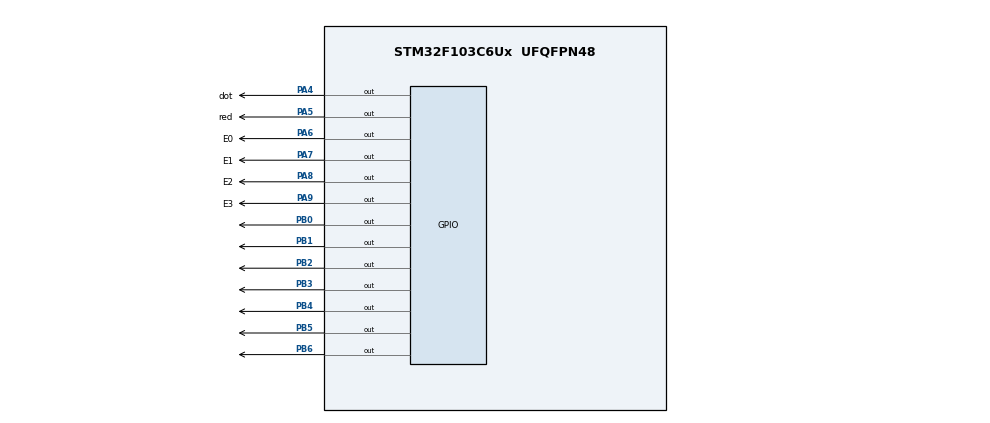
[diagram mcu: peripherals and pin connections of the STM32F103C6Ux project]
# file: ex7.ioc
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Mcu.Family=STM32F1
Mcu.Name=STM32F103C6Ux
Mcu.Package=UFQFPN48
NVIC.PriorityGroup=NVIC_PRIORITYGROUP_4
NVIC.TIM2_IRQn=true\:0\:0\:false\:false\:true\:true\:true
PA13.Mode=Serial_Wire
PA13.Signal=SYS_JTMS-SWDIO
PA14.Mode=Serial_Wire
PA14.Signal=SYS_JTCK-SWCLK
PA4.GPIO_Label=dot
PA4.Signal=GPIO_Output
PA5.GPIO_Label=red
PA5.Signal=GPIO_Output
PA6.GPIO_Label=E0
PA6.Signal=GPIO_Output
PA7.GPIO_Label=E1
PA7.Signal=GPIO_Output
PA8.GPIO_Label=E2
PA8.Signal=GPIO_Output
PA9.GPIO_Label=E3
PA9.Signal=GPIO_Output
PB0.Signal=GPIO_Output
PB1.Signal=GPIO_Output
PB2.Signal=GPIO_Output
PB3.Signal=GPIO_Output
PB4.Signal=GPIO_Output
PB5.Signal=GPIO_Output
PB6.Signal=GPIO_Output
ProjectManager.HeapSize=0x200
ProjectManager.StackSize=0x400
ProjectManager.TargetToolchain=STM32CubeIDE
RCC.APB1Freq_Value=8000000
RCC.APB2Freq_Value=8000000
TIM2.Period=9
TIM2.Prescaler=7999
VP_TIM2_VS_ClockSourceINT.Mode=Internal
board=custom

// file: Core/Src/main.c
/* USER CODE BEGIN Header */
/**
  ******************************************************************************
  * @file           : main.c
  * @brief          : Main program body
  ******************************************************************************
  * @attention
  *
  * <h2><center>&copy; Copyright (c) 2023 STMicroelectronics.
  * All rights reserved.</center></h2>
  *
  * This software component is licensed by ST under BSD 3-Clause license,
  * the "License"; You may not use this file except in compliance with the
  * License. You may obtain a copy of the License at:
  *                        opensource.org/licenses/BSD-3-Clause
  *
  ******************************************************************************
  */
/* USER CODE END Header */
#include "main.h"
int timer0_counter = 0;
int timer0_flag = 0;
int TIMER_CYCLE = 10;

int hour = 23 , minute = 9 , second = 55;
const int MAX_LED = 4;
int index_led = 0; // state
int led_buffer[4];

TIM_HandleTypeDef htim2;

void SystemClock_Config(void);
static void MX_GPIO_Init(void);
static void MX_TIM2_Init(void);

int main(void)
{

  /* MCU Configuration--------------------------------------------------------*/

  /* Reset of all peripherals, Initializes the Flash interface and the Systick. */
  HAL_Init();

  /* Configure the system clock */
  SystemClock_Config();

  /* Initialize all configured peripherals */
  MX_GPIO_Init();
  MX_TIM2_Init();
  /* USER CODE BEGIN 2 */
  HAL_TIM_Base_Start_IT(&htim2);
  /* USER CODE END 2 */

  /* Infinite loop */
  /* USER CODE BEGIN WHILE */
  setTimer0(10);
  while (1)
  {
	  updateClockBuffer();
	  if(timer0_flag == 1) {
		HAL_GPIO_TogglePin(red_GPIO_Port, red_Pin);
		HAL_GPIO_TogglePin(dot_GPIO_Port, dot_Pin);
		if(index_led == 0) {
			HAL_GPIO_WritePin(E0_GPIO_Port, E0_Pin, RESET);
			HAL_GPIO_WritePin(E1_GPIO_Port, E1_Pin, SET);
			HAL_GPIO_WritePin(E2_GPIO_Port, E2_Pin, SET);
			HAL_GPIO_WritePin(E3_GPIO_Port, E3_Pin, SET);
			update7SEG(index_led);
		}
		else if(index_led == 1) {
			HAL_GPIO_WritePin(E0_GPIO_Port, E0_Pin, SET);
			HAL_GPIO_WritePin(E1_GPIO_Port, E1_Pin, RESET);
			HAL_GPIO_WritePin(E2_GPIO_Port, E2_Pin, SET);
			HAL_GPIO_WritePin(E3_GPIO_Port, E3_Pin, SET);
			update7SEG(index_led);
		}
		else if(index_led == 2) {
			HAL_GPIO_WritePin(E0_GPIO_Port, E0_Pin, SET);
			HAL_GPIO_WritePin(E1_GPIO_Port, E1_Pin, SET);
			HAL_GPIO_WritePin(E2_GPIO_Port, E2_Pin, RESET);
			HAL_GPIO_WritePin(E3_GPIO_Port, E3_Pin, SET);
			update7SEG(index_led);
		}
		else {
			HAL_GPIO_WritePin(E0_GPIO_Port, E0_Pin, SET);
			HAL_GPIO_WritePin(E1_GPIO_Port, E1_Pin, SET);
			HAL_GPIO_WritePin(E2_GPIO_Port, E2_Pin, SET);
			HAL_GPIO_WritePin(E3_GPIO_Port, E3_Pin, RESET);
			update7SEG(index_led);
		}
		second++;
		if (second >= 60) {
				  second = 0;
				  minute ++;
			  }
		if( minute >= 60) {
			      minute = 0;
			      hour ++;
			  }
		if( hour >=24) {
			  	  hour = 0;
			  }
		index_led = (index_led + 1) % MAX_LED;
		setTimer0(1000);
	  }
  /* USER CODE END 3 */
  }

}

void SystemClock_Config(void)
{
  RCC_OscInitTypeDef RCC_OscInitStruct = {0};
  RCC_ClkInitTypeDef RCC_ClkInitStruct = {0};

  /** Initializes the RCC Oscillators according to the specified parameters
  * in the RCC_OscInitTypeDef structure.
  */
  RCC_OscInitStruct.OscillatorType = RCC_OSCILLATORTYPE_HSI;
  RCC_OscInitStruct.HSIState = RCC_HSI_ON;
  RCC_OscInitStruct.HSICalibrationValue = RCC_HSICALIBRATION_DEFAULT;
  RCC_OscInitStruct.PLL.PLLState = RCC_PLL_NONE;
  if (HAL_RCC_OscConfig(&RCC_OscInitStruct) != HAL_OK)
  {
    Error_Handler();
  }
  /** Initializes the CPU, AHB and APB buses clocks
  */
  RCC_ClkInitStruct.ClockType = RCC_CLOCKTYPE_HCLK|RCC_CLOCKTYPE_SYSCLK
                              |RCC_CLOCKTYPE_PCLK1|RCC_CLOCKTYPE_PCLK2;
  RCC_ClkInitStruct.SYSCLKSource = RCC_SYSCLKSOURCE_HSI;
  RCC_ClkInitStruct.AHBCLKDivider = RCC_SYSCLK_DIV1;
  RCC_ClkInitStruct.APB1CLKDivider = RCC_HCLK_DIV1;
  RCC_ClkInitStruct.APB2CLKDivider = RCC_HCLK_DIV1;

  if (HAL_RCC_ClockConfig(&RCC_ClkInitStruct, FLASH_LATENCY_0) != HAL_OK)
  {
    Error_Handler();
  }
}

static void MX_TIM2_Init(void)
{

  TIM_ClockConfigTypeDef sClockSourceConfig = {0};
  TIM_MasterConfigTypeDef sMasterConfig = {0};

  htim2.Instance = TIM2;
  htim2.Init.Prescaler = 7999;
  htim2.Init.CounterMode = TIM_COUNTERMODE_UP;
  htim2.Init.Period = 9;
  htim2.Init.ClockDivision = TIM_CLOCKDIVISION_DIV1;
  htim2.Init.AutoReloadPreload = TIM_AUTORELOAD_PRELOAD_DISABLE;
  if (HAL_TIM_Base_Init(&htim2) != HAL_OK)
  {
    Error_Handler();
  }
  sClockSourceConfig.ClockSource = TIM_CLOCKSOURCE_INTERNAL;
  if (HAL_TIM_ConfigClockSource(&htim2, &sClockSourceConfig) != HAL_OK)
  {
    Error_Handler();
  }
  sMasterConfig.MasterOutputTrigger = TIM_TRGO_RESET;
  sMasterConfig.MasterSlaveMode = TIM_MASTERSLAVEMODE_DISABLE;
  if (HAL_TIMEx_MasterConfigSynchronization(&htim2, &sMasterConfig) != HAL_OK)
  {
    Error_Handler();
  }

}

static void MX_GPIO_Init(void)
{
  GPIO_InitTypeDef GPIO_InitStruct = {0};

  /* GPIO Ports Clock Enable */
  __HAL_RCC_GPIOA_CLK_ENABLE();
  __HAL_RCC_GPIOB_CLK_ENABLE();

  /*Configure GPIO pin Output Level */
  HAL_GPIO_WritePin(GPIOA, dot_Pin|red_Pin|E0_Pin|E1_Pin
                          |E2_Pin|E3_Pin, GPIO_PIN_RESET);

  /*Configure GPIO pin Output Level */
  HAL_GPIO_WritePin(GPIOB, GPIO_PIN_0|GPIO_PIN_1|GPIO_PIN_2|GPIO_PIN_3
                          |GPIO_PIN_4|GPIO_PIN_5|GPIO_PIN_6, GPIO_PIN_RESET);

  /*Configure GPIO pins : dot_Pin red_Pin E0_Pin E1_Pin
                           E2_Pin E3_Pin */
  GPIO_InitStruct.Pin = dot_Pin|red_Pin|E0_Pin|E1_Pin
                          |E2_Pin|E3_Pin;
  GPIO_InitStruct.Mode = GPIO_MODE_OUTPUT_PP;
  GPIO_InitStruct.Pull = GPIO_NOPULL;
  GPIO_InitStruct.Speed = GPIO_SPEED_FREQ_LOW;
  HAL_GPIO_Init(GPIOA, &GPIO_InitStruct);

  /*Configure GPIO pins : PB0 PB1 PB2 PB3
                           PB4 PB5 PB6 */
  GPIO_InitStruct.Pin = GPIO_PIN_0|GPIO_PIN_1|GPIO_PIN_2|GPIO_PIN_3
                          |GPIO_PIN_4|GPIO_PIN_5|GPIO_PIN_6;
  GPIO_InitStruct.Mode = GPIO_MODE_OUTPUT_PP;
  GPIO_InitStruct.Pull = GPIO_NOPULL;
  GPIO_InitStruct.Speed = GPIO_SPEED_FREQ_LOW;
  HAL_GPIO_Init(GPIOB, &GPIO_InitStruct);

}

/* USER CODE BEGIN 4 */
void setTimer0 (int duration) {
 	timer0_counter = duration / TIMER_CYCLE ;
	timer0_flag = 0;
}

void timer_run () {
	if( timer0_counter > 0) {
		timer0_counter--;
		if( timer0_counter == 0) timer0_flag = 1;
	}
}

void HAL_TIM_PeriodElapsedCallback ( TIM_HandleTypeDef * htim )
{
	timer_run();
}

void display7SEG(int num)
{
    const int segments[10] = {
        0b00111111, // 0
        0b00000110, // 1
        0b01011011, // 2
        0b01001111, // 3
        0b01100110, // 4
        0b01101101, // 5
        0b01111101, // 6
        0b00000111, // 7
        0b01111111, // 8
        0b01101111  // 9
    };

    uint8_t displaySegments = segments[num];

    HAL_GPIO_WritePin(GPIOB, GPIO_PIN_0, (displaySegments & 0x01) ? GPIO_PIN_RESET : GPIO_PIN_SET);
    HAL_GPIO_WritePin(GPIOB, GPIO_PIN_1, ((displaySegments >> 1) & 0x01) ? GPIO_PIN_RESET : GPIO_PIN_SET);
    HAL_GPIO_WritePin(GPIOB, GPIO_PIN_2, ((displaySegments >> 2) & 0x01) ? GPIO_PIN_RESET : GPIO_PIN_SET);
    HAL_GPIO_WritePin(GPIOB, GPIO_PIN_3, ((displaySegments >> 3) & 0x01) ? GPIO_PIN_RESET : GPIO_PIN_SET);
    HAL_GPIO_WritePin(GPIOB, GPIO_PIN_4, ((displaySegments >> 4) & 0x01) ? GPIO_PIN_RESET : GPIO_PIN_SET);
    HAL_GPIO_WritePin(GPIOB, GPIO_PIN_5, ((displaySegments >> 5) & 0x01) ? GPIO_PIN_RESET : GPIO_PIN_SET);
    HAL_GPIO_WritePin(GPIOB, GPIO_PIN_6, ((displaySegments >> 6) & 0x01) ? GPIO_PIN_RESET : GPIO_PIN_SET);
}

void update7SEG(index_led){
	display7SEG(led_buffer[index_led]);
}

void updateClockBuffer() {
    int hour0 = hour / 10;
    int hour1 = hour % 10;
    int minute0 = minute / 10;
    int minute1 = minute % 10;

    led_buffer[0] = hour0;
    led_buffer[1] = hour1;
    led_buffer[2] = minute0;
    led_buffer[3] = minute1;
}
/* USER CODE END 4 */

void Error_Handler(void)
{
  __disable_irq();
  while (1)
  {
  }
}

/************************ (C) COPYRIGHT STMicroelectronics *****END OF FILE****/
